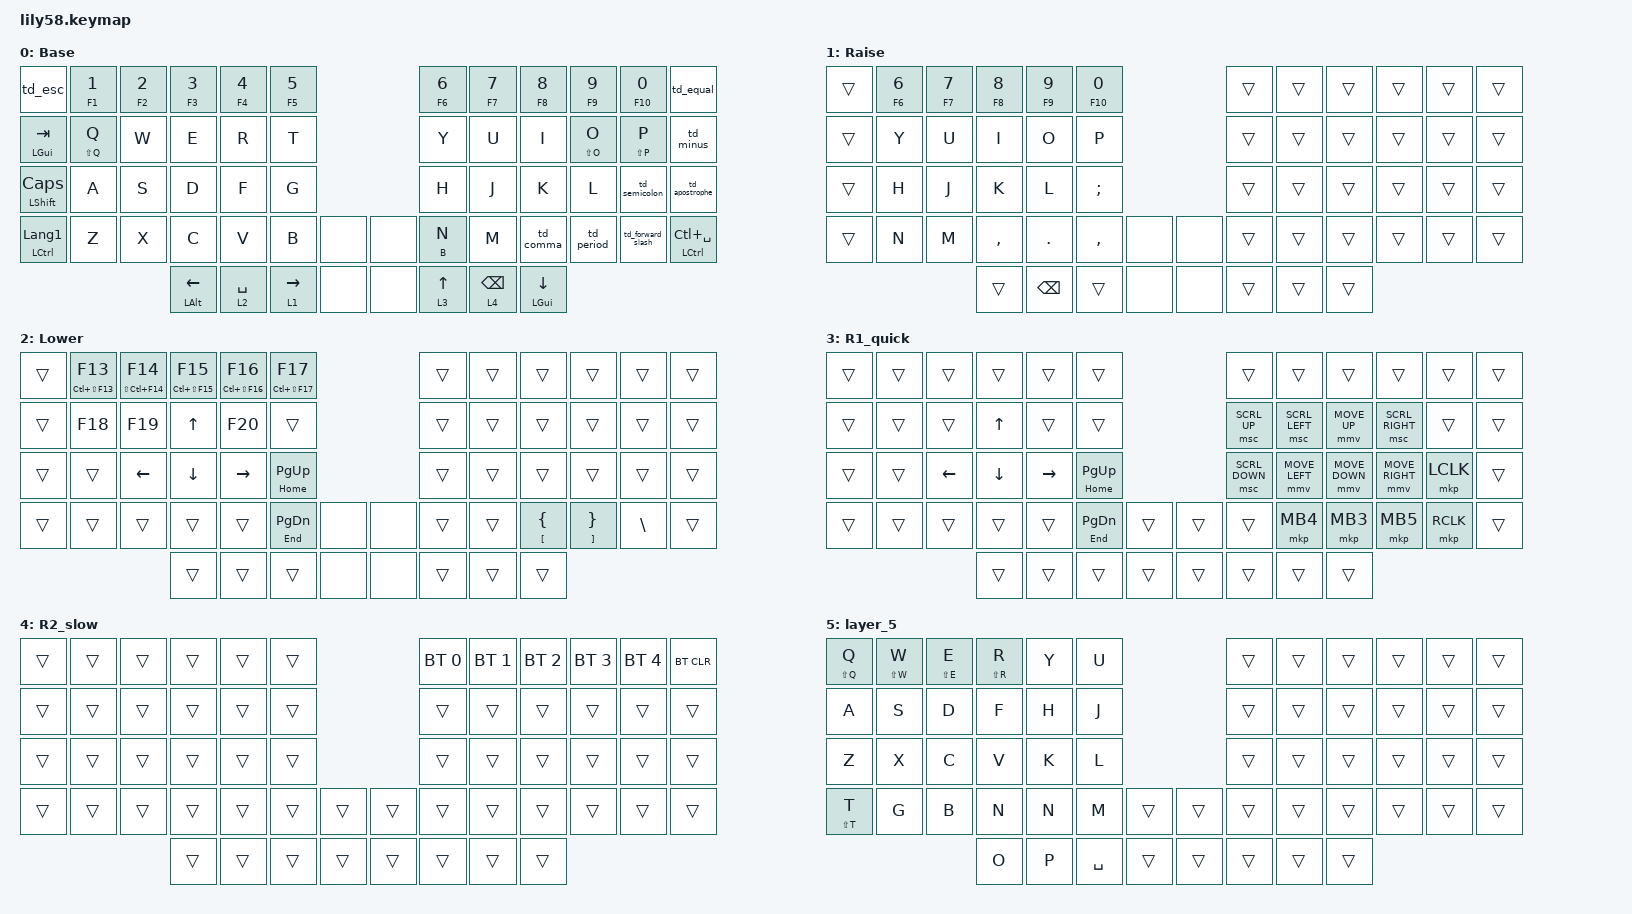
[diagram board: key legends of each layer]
/*
 * Copyright (c) 2020 The ZMK Contributors
 *
 * SPDX-License-Identifier: MIT
 */

#include <behaviors.dtsi>
#include <dt-bindings/zmk/bt.h>
#include <dt-bindings/zmk/keys.h>
#include <dt-bindings/zmk/pointing.h>

/ {
    behaviors {
        hm: hm {
            compatible = "zmk,behavior-hold-tap";
            label = "HM";
            bindings = <&kp>, <&kp>;

            #binding-cells = <2>;
            tapping-term-ms = <250>;
            quick-tap-ms = <170>;
            flavor = "tap-preferred";
        };

        td_minus: td_minus {
            compatible = "zmk,behavior-tap-dance";
            label = "TD_MINUS";
            #binding-cells = <0>;
            bindings = <&hm F12 MINUS>, <&kp LS(MINUS)>;

            tapping-term-ms = <200>;
        };

        td_apostrophe: td_apostrophe {
            compatible = "zmk,behavior-tap-dance";
            label = "TD_APOSTROPHE";
            #binding-cells = <0>;
            bindings = <&hm_hold LEFT_SHIFT APOS>, <&kp LS(APOSTROPHE)>;

            tapping-term-ms = <200>;
        };

        td_semicolon: td_semicolon {
            compatible = "zmk,behavior-tap-dance";
            label = "TD_SEMICOLON";
            #binding-cells = <0>;
            bindings = <&hm LS(SEMICOLON) SEMICOLON>, <&kp LANGUAGE_2>;

            tapping-term-ms = <200>;
        };

        td_comma: td_comma {
            compatible = "zmk,behavior-tap-dance";
            label = "TD_COMMA";
            #binding-cells = <0>;
            bindings = <&hm LS(COMMA) COMMA>, <&kp LEFT_BRACKET>;

            tapping-term-ms = <200>;
        };

        td_forward_slash: td_forward_slash {
            compatible = "zmk,behavior-tap-dance";
            label = "TD_FORWARD_SLASH";
            #binding-cells = <0>;
            bindings = <&hm LS(SLASH) SLASH>, <&kp BACKSLASH>;

            tapping-term-ms = <200>;
        };

        td_period: td_period {
            compatible = "zmk,behavior-tap-dance";
            label = "TD_PERIOD";
            #binding-cells = <0>;
            bindings = <&hm LS(PERIOD) PERIOD>, <&kp RIGHT_BRACKET>;

            tapping-term-ms = <200>;
        };

        hm_hold: hm_hold {
            compatible = "zmk,behavior-hold-tap";
            label = "HM_HOLD";
            bindings = <&kp>, <&kp>;

            #binding-cells = <2>;
            tapping-term-ms = <220>;
            quick-tap-ms = <170>;
            flavor = "hold-preferred";
        };

        td_esc: td_esc {
            compatible = "zmk,behavior-tap-dance";
            label = "TD_ESC";
            #binding-cells = <0>;
            bindings = <&hm GRAVE ESCAPE>, <&kp TILDE>;

            tapping-term-ms = <200>;
        };

        td_equal: td_equal {
            compatible = "zmk,behavior-tap-dance";
            label = "TD_EQUAL";
            #binding-cells = <0>;
            bindings = <&hm F11 EQUAL>, <&kp LS(EQUAL)>;

            tapping-term-ms = <200>;
        };

        lt_kp_tap_ret: lt_kp_tap_ret {
            compatible = "zmk,behavior-hold-tap";
            label = "LT_KP_TAP_RET";
            bindings = <&mo>, <&kp>;

            #binding-cells = <2>;
            tapping-term-ms = <250>;
            quick-tap-ms = <170>;
            flavor = "tap-preferred";
            retro-tap;
            require-prior-idle-ms = <150>;
        };

        lt_sl_kp_hold: lt_sl_kp_hold {
            compatible = "zmk,behavior-hold-tap";
            label = "LT_SL_KP_HOLD";
            bindings = <&sl>, <&kp>;

            #binding-cells = <2>;
            tapping-term-ms = <220>;
            quick-tap-ms = <170>;
            flavor = "hold-preferred";
        };

        hm_long: hm_long {
            compatible = "zmk,behavior-hold-tap";
            label = "HM_LONG";
            bindings = <&kp>, <&kp>;

            #binding-cells = <2>;
            tapping-term-ms = <400>;
            quick-tap-ms = <170>;
            flavor = "tap-preferred";
        };

        hm_hold_while_undecided: hm_hold_while_undecided {
            compatible = "zmk,behavior-hold-tap";
            label = "HM_HOLD_WHILE_UNDECIDED";
            bindings = <&kp>, <&kp>;

            #binding-cells = <2>;
            tapping-term-ms = <200>;
            quick-tap-ms = <130>;
            flavor = "balanced";
        };
    };

    combos {
        compatible = "zmk,combos";

        delete {
            bindings = <&kp DELETE>;
            key-positions = <52 50>;
            timeout-ms = <50>;
        };

        backspace {
            bindings = <&kp BACKSPACE>;
            key-positions = <52 51>;
        };

        bt_0 {
            bindings = <&bt BT_SEL 0>;
            key-positions = <0 1 2>;
        };

        bt_1 {
            bindings = <&bt BT_SEL 1>;
            key-positions = <1 2 3>;
            timeout-ms = <50>;
        };

        bt_2 {
            bindings = <&bt BT_SEL 2>;
            key-positions = <2 3 4>;
            timeout-ms = <50>;
        };

        bt_3 {
            bindings = <&bt BT_SEL 3>;
            key-positions = <3 4 5>;
            timeout-ms = <50>;
        };

        ctrl_shift_tab {
            bindings = <&kp LC(LS(TAB))>;
            key-positions = <12 13 14>;
        };

        ctrl_tab {
            bindings = <&kp LC(TAB)>;
            key-positions = <13 14 15>;
        };

        ctrl_shift_n {
            bindings = <&kp LC(N)>;
            key-positions = <37 38 39>;
        };

        f13 {
            bindings = <&kp LC(LS(F13))>;
            key-positions = <1 51>;
        };

        f14 {
            bindings = <&kp LC(LS(F14))>;
            key-positions = <51 2>;
        };

        f15 {
            bindings = <&kp LC(LS(F15))>;
            key-positions = <51 3>;
        };

        f16 {
            bindings = <&kp LC(LS(F16))>;
            key-positions = <51 4>;
        };

        f17 {
            bindings = <&kp LC(LS(F17))>;
            key-positions = <51 5>;
        };

        win_left {
            bindings = <&kp LG(LEFT_ARROW)>;
            key-positions = <25 27 26 28>;
            timeout-ms = <70>;
        };

        win_right {
            bindings = <&kp LG(RIGHT_ARROW)>;
            key-positions = <27 26 28 29>;
            timeout-ms = <70>;
        };

        win_up {
            bindings = <&kp LG(UP_ARROW)>;
            key-positions = <13 14 15 16>;
            timeout-ms = <70>;
        };

        win_down {
            bindings = <&kp LG(DOWN_ARROW)>;
            key-positions = <37 38 39 40>;
            timeout-ms = <70>;
        };

        ctrl_space {
            bindings = <&kp LC(SPACE)>;
            key-positions = <51 24>;
            timeout-ms = <100>;
        };

        enter {
            bindings = <&kp ENTER>;
            key-positions = <26 27 28>;
            timeout-ms = <120>;
        };

        enter_2 {
            bindings = <&kp ENTER>;
            key-positions = <32 33 31>;
            timeout-ms = <100>;
        };

        bt_4 {
            bindings = <&bt BT_SEL 4>;
            key-positions = <6 7 8>;
            timeout-ms = <50>;
        };

        bt_clr {
            bindings = <&bt BT_CLR>;
            key-positions = <7 8 9>;
            timeout-ms = <50>;
        };

        ctrl_z {
            bindings = <&kp LC(Z)>;
            key-positions = <55 56>;
            timeout-ms = <100>;
        };

        ctrl_y {
            bindings = <&kp LC(Y)>;
            key-positions = <55 57>;
            timeout-ms = <100>;
        };

        layer5 {
            bindings = <&tog 5>;
            key-positions = <0 1 4 5>;
        };
    };

    keymap {
        compatible = "zmk,keymap";

        default_layer {
            // ------------------------------------------------------------------------------------------------------------
            // |  ESC  |  1  |  2  |  3   |  4   |  5   |                   |  6   |  7    |  8    |  9   |   0   |   `   |
            // |  TAB  |  Q  |  W  |  E   |  R   |  T   |                   |  Y   |  U    |  I    |  O   |   P   |   -   |
            // |  CTRL |  A  |  S  |  D   |  F   |  G   |                   |  H   |  J    |  K    |  L   |   ;   |   '   |
            // | SHIFT |  Z  |  X  |  C   |  V   |  B   |  n/a   |  |  n/a  |  N   |  M    |  ,    |  .   |   /   | SHIFT |
            //                     | GUI  | LOWER| SPACE|  n/a   |  |  n/a  | ENTER| RAISE | BSPC  |
            // Note: Silakka54 has 54 keys - the 4 positions marked n/a are not present (inner thumb + encoder positions)

            display-name = "Base";
            bindings = <
&td_esc                                           &hm F1 NUMBER_1  &hm F2 NUMBER_2  &hm F3 NUMBER_3               &hm F4 NUMBER_4         &hm F5 NUMBER_5                               &hm F6 NUMBER_6            &hm F7 NUMBER_7             &hm F8 NUMBER_8               &hm F9 NUMBER_9  &hm F10 NUMBER_0   &td_equal
&hm LEFT_GUI TAB                                  &hm LS(Q) Q      &kp W            &kp E                         &kp R                   &kp T                                         &kp Y                      &kp U                       &kp I                         &hm LS(O) O      &hm LS(P) P        &td_minus
&hm_hold_while_undecided LEFT_SHIFT CAPSLOCK      &kp A            &kp S            &kp D                         &kp F                   &kp G                                         &kp H                      &kp J                       &kp K                         &kp L            &td_semicolon      &td_apostrophe
&hm_hold_while_undecided LEFT_CONTROL LANGUAGE_1  &kp Z            &kp X            &kp C                         &kp V                   &kp B                         &none    &none  &hm B N                    &kp M                       &td_comma                     &td_period       &td_forward_slash  &hm_hold_while_undecided LEFT_CONTROL LC(SPACE)
                                                                                    &hm_hold LEFT_ALT LEFT_ARROW  &lt_kp_tap_ret 2 SPACE  &lt_sl_kp_hold 1 RIGHT_ARROW  &none    &none  &lt_sl_kp_hold 3 UP_ARROW  &lt_kp_tap_ret 4 BACKSPACE  &hm_hold LEFT_GUI DOWN_ARROW
            >;
        };

        L1_quick {
            // ------------------------------------------------------------------------------------------------------------
            // |       |     |     |      |      |      |                   |      |       |       |      |       |       |
            // |   `   |  1  |  2  |  3   |  4   |  5   |                   |  6   |   7   |   8   |  9   |   0   |       |
            // |   F1  |  F2 |  F3 |  F4  |  F5  |  F6  |                   |      |   <-  |   v   |  ^   |  ->   |       |
            // |   F7  |  F8 |  F9 |  F10 |  F11 |  F12 |  n/a   |  |  n/a  |  +   |   -   |   =   |  [   |   ]   |   \   |
            //                     |      |      |      |  n/a   |  |  n/a  |      |       |       |

            display-name = "Raise";
            bindings = <
&trans  &hm F6 NUMBER_6  &hm F7 NUMBER_7  &hm F8 NUMBER_8  &hm F9 NUMBER_9  &hm F10 NUMBER_0                  &trans  &trans  &trans  &trans  &trans  &trans
&trans  &kp Y            &kp U            &kp I            &kp O            &kp P                             &trans  &trans  &trans  &trans  &trans  &trans
&trans  &kp H            &kp J            &kp K            &kp L            &kp SEMICOLON                     &trans  &trans  &trans  &trans  &trans  &trans
&trans  &kp N            &kp M            &kp COMMA        &kp PERIOD       &kp COMMA         &none    &none  &trans  &trans  &trans  &trans  &trans  &trans
                                          &trans           &kp BACKSPACE    &trans            &none    &none  &trans  &trans  &trans
            >;
        };

        L2_slow {
            // ------------------------------------------------------------------------------------------------------------
            // | BTCLR | BT1 | BT2 |  BT3 |  BT4 |  BT5 |                   | USB  | BLE   |       |      |       |BTCLRALL|
            // |  F1   |  F2 |  F3 |  F4  |  F5  |  F6  |                   |  F7  |  F8   |  F9   |  F10 |  F11  |  F12  |
            // |   `   |  !  |  @  |  #   |  $   |  %   |                   |  ^   |  &    |  *    |  (   |   )   |   ~   |
            // |       |     |     |      |      |      |  n/a   |  |  n/a  |      |  _    |  +    |  {   |   }   |  "|"  |
            //                     |      |      |      |  n/a   |  |  n/a  |      |       |       |

            display-name = "Lower";
            bindings = <
&trans  &hm LC(LS(F13)) F13  &hm LS(LC(F14)) F14  &hm LC(LS(F15)) F15  &hm LC(LS(F16)) F16  &hm LC(LS(F17)) F17                     &trans  &trans  &trans                       &trans                         &trans         &trans
&trans  &kp F18              &kp F19              &kp UP_ARROW         &kp F20              &trans                                  &trans  &trans  &trans                       &trans                         &trans         &trans
&trans  &trans               &kp LEFT_ARROW       &kp DOWN_ARROW       &kp RIGHT_ARROW      &hm_long HOME PAGE_UP                   &trans  &trans  &trans                       &trans                         &trans         &trans
&trans  &trans               &trans               &trans               &trans               &hm_long END PAGE_DOWN  &none    &none  &trans  &trans  &hm LEFT_BRACKET LEFT_BRACE  &hm RIGHT_BRACKET RIGHT_BRACE  &kp BACKSLASH  &trans
                                                  &trans               &trans               &trans                  &none    &none  &trans  &trans  &trans
            >;
        };

        R1_quick {
            bindings = <
&trans  &trans  &trans          &trans          &trans           &trans                                    &trans          &trans          &trans          &trans           &trans     &trans
&trans  &trans  &trans          &kp UP_ARROW    &trans           &trans                                    &msc SCRL_UP    &msc SCRL_LEFT  &mmv MOVE_UP    &msc SCRL_RIGHT  &trans     &trans
&trans  &trans  &kp LEFT_ARROW  &kp DOWN_ARROW  &kp RIGHT_ARROW  &hm_long HOME PAGE_UP                     &msc SCRL_DOWN  &mmv MOVE_LEFT  &mmv MOVE_DOWN  &mmv MOVE_RIGHT  &mkp LCLK  &trans
&trans  &trans  &trans          &trans          &trans           &hm_long END PAGE_DOWN  &trans    &trans  &trans          &mkp MB4        &mkp MB3        &mkp MB5         &mkp RCLK  &trans
                                &trans          &trans           &trans                  &trans    &trans  &trans          &trans          &trans
            >;
        };

        R2_slow {
            bindings = <
&trans  &trans  &trans  &trans  &trans  &trans                    &bt BT_SEL 0  &bt BT_SEL 1  &bt BT_SEL 2  &bt BT_SEL 3  &bt BT_SEL 4  &bt BT_CLR
&trans  &trans  &trans  &trans  &trans  &trans                    &trans        &trans        &trans        &trans        &trans        &trans
&trans  &trans  &trans  &trans  &trans  &trans                    &trans        &trans        &trans        &trans        &trans        &trans
&trans  &trans  &trans  &trans  &trans  &trans  &trans    &trans  &trans        &trans        &trans        &trans        &trans        &trans
                        &trans  &trans  &trans  &trans    &trans  &trans        &trans        &trans
            >;
        };

        layer_5 {
            bindings = <
&hm LS(Q) Q  &hm LS(W) W  &hm LS(E) E  &hm LS(R) R  &kp Y  &kp U                        &trans  &trans  &trans  &trans  &trans  &trans
&kp A        &kp S        &kp D        &kp F        &kp H  &kp J                        &trans  &trans  &trans  &trans  &trans  &trans
&kp Z        &kp X        &kp C        &kp V        &kp K  &kp L                        &trans  &trans  &trans  &trans  &trans  &trans
&hm LS(T) T  &kp G        &kp B        &kp N        &kp N  &kp M      &trans    &trans  &trans  &trans  &trans  &trans  &trans  &trans
                                       &kp O        &kp P  &kp SPACE  &trans    &trans  &trans  &trans  &trans
            >;
        };
    };
};
